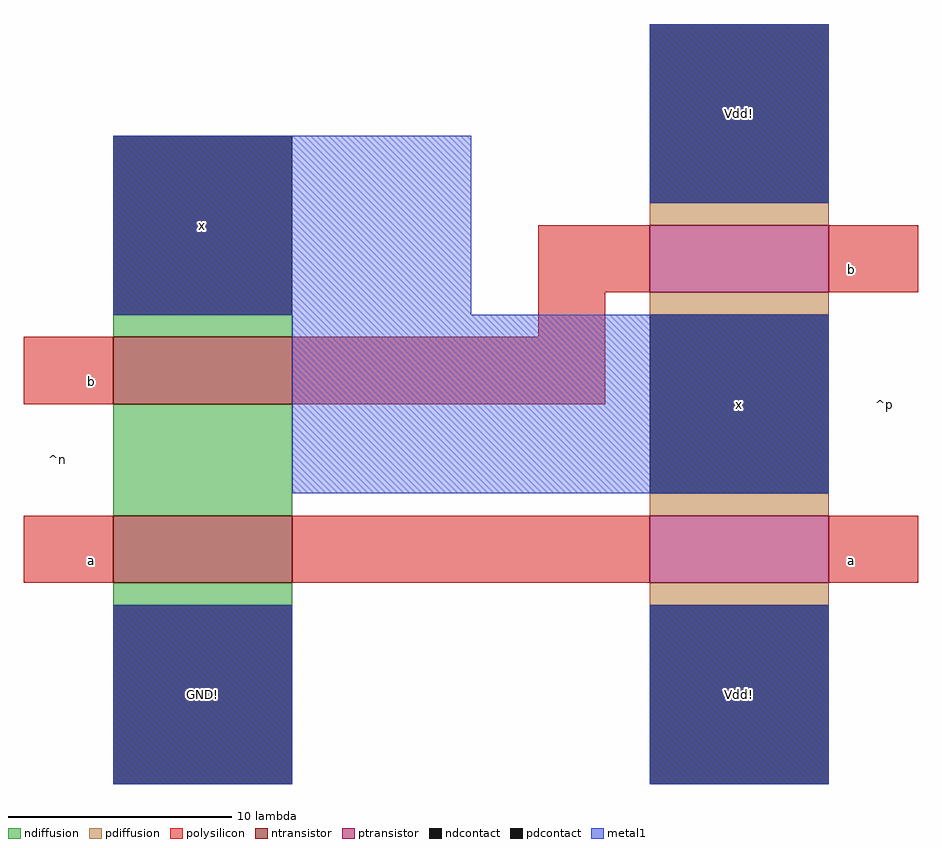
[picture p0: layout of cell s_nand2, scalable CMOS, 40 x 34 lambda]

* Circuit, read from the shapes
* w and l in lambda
.subckt s_nand2 GND! Vdd! a b x
M1 n1 a GND! VSUBS nfet w=8 l=3
M2 x b n1 VSUBS nfet w=8 l=3
M3 x a Vdd! NWELL pfet w=8 l=3
M4 Vdd! b x NWELL pfet w=8 l=3
.ends

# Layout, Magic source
magic
tech scmos
<< ndiffusion >>
rect 0 559 8 560
rect 0 551 8 556
rect 0 547 8 548
<< pdiffusion >>
rect 24 564 32 565
rect 24 560 32 561
rect 24 551 32 552
rect 24 547 32 548
<< ntransistor >>
rect 0 556 8 559
rect 0 548 8 551
<< ptransistor >>
rect 24 561 32 564
rect 24 548 32 551
<< polysilicon >>
rect 19 561 24 564
rect 32 561 36 564
rect 19 559 22 561
rect -4 556 0 559
rect 8 556 22 559
rect -4 548 0 551
rect 8 548 24 551
rect 32 548 36 551
<< ndcontact >>
rect 0 560 8 568
rect 0 539 8 547
<< pdcontact >>
rect 24 565 32 573
rect 24 552 32 560
rect 24 539 32 547
<< metal1 >>
rect 0 560 16 568
rect 24 565 32 573
rect 8 552 32 560
rect 0 539 8 547
rect 24 539 32 547
<< labels >>
rlabel metal1 28 556 28 556 1 x
rlabel metal1 28 569 28 569 5 Vdd!
rlabel metal1 28 543 28 543 1 Vdd!
rlabel metal1 4 564 4 564 1 x
rlabel metal1 4 543 4 543 1 GND!
rlabel polysilicon -1 549 -1 549 3 a
rlabel polysilicon -1 557 -1 557 3 b
rlabel polysilicon 33 562 33 562 1 b
rlabel polysilicon 33 549 33 549 1 a
rlabel space -5 539 0 568 7 ^n
rlabel space 32 539 37 573 3 ^p
<< end >>
